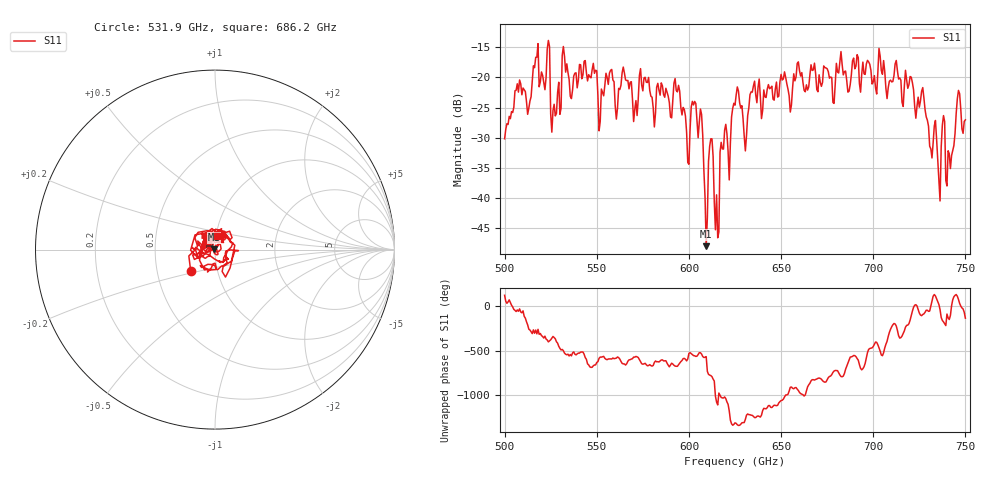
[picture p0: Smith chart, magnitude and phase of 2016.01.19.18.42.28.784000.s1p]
!Created with skrf (http://scikit-rf.org).
# GHz S RI R 50.0
!freq ReS11 ImS11
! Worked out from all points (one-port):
!   401 points, 500 GHz to 750 GHz, reference 50 ohm
!   lowest |S11| = -48.0 dB at 609.4 GHz (marker M1), VSWR 1.01, Z = 49.6 + j0.173 ohm
!   |S11| at or under -10 dB: start of sweep to end of sweep
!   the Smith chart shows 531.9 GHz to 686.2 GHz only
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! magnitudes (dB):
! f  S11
! 500 GHz  -30.2
! 506.9 GHz  -21.0
! 513.1 GHz  -25.1
! 516.9 GHz  -16.7
! 523.1 GHz  -15.3
! 526.2 GHz  -25.5
! 531.2 GHz  -16.4
! 562.5 GHz  -22.0
! 593.8 GHz  -22.4
! 599.4 GHz  -34.1
! 602.5 GHz  -24.5
! 606.2 GHz  -25.2
! 609.4 GHz  -48.0
! 611.9 GHz  -30.2
! 615 GHz  -39.5
! 618.1 GHz  -31.8
! 621.9 GHz  -37.0
! 625 GHz  -24.6
! 630.6 GHz  -32.2
! 634.4 GHz  -22.4
! 656.2 GHz  -21.7
! 687.5 GHz  -21.2
! 718.8 GHz  -21.8
! 735.6 GHz  -37.4
! 738.1 GHz  -26.3
! 740.6 GHz  -32.1
! 746.2 GHz  -22.1
! 750 GHz  -27.0
